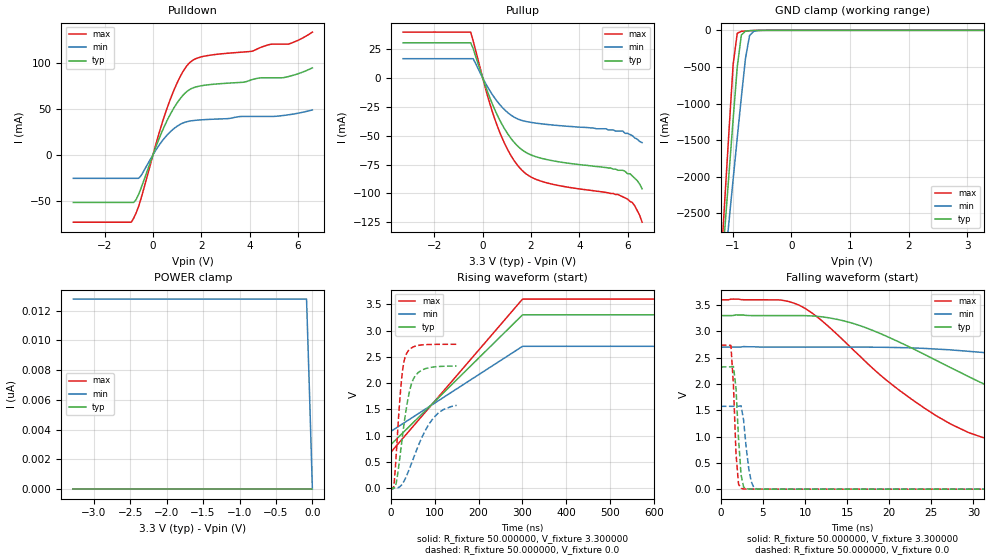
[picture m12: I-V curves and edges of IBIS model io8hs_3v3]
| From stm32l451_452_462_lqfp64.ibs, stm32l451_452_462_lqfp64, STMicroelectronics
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|   Model io8hs_3v3
[Model]  io8hs_3v3
Model_type I/O
Polarity   Non-Inverting
Enable   Active-Low
Vinl =   0.990000V
Vinh =   2.310000V
Vmeas =  1.650000V
Cref =   100.000000nF
Rref =   1.000000k
Vref =   3.300000V
C_comp   2.267200pF   2.233100pF   2.322300pF
[Temperature Range]   25.000000   0.125000k   -40.000000
[Pullup Reference]   3.300000V   2.700000V   3.600000V
[Pulldown Reference]   0.0V   0.0V   0.0V
[POWER Clamp Reference]   3.300000V   2.700000V   3.600000V
[GND Clamp Reference]   0.0V   0.0V   0.0V
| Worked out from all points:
|   slope of the pulldown table from 0 to 0.495 V, typ, clamps not added: 15.3 ohm
|   slope of the pullup table from 0 to 0.495 V, typ, clamps not added: 18.1 ohm
|   GND clamp passes 1 mA (typ) near -0.58 V on its own axis
|   rising waveform, R_fixture 50.000000, V_fixture 3.300000: 20-80 % time 180ns typ, 180ns min, 180ns max; typ from 0.831 V to 3.3 V
|   rising waveform, R_fixture 50.000000, V_fixture 0.0: 20-80 % time 24.3ns typ, 50.9ns min, 14.6ns max; typ from 0 V to 2.33 V
|   falling waveform, R_fixture 50.000000, V_fixture 3.300000: 20-80 % time 21ns typ, 41.5ns min, 13.6ns max; typ from 3.3 V to 0.831 V
|   falling waveform, R_fixture 50.000000, V_fixture 0.0: 20-80 % time 499ps typ, 675ps min, 456ps max; typ from 2.33 V to 0 V
[Pulldown]
|Voltage   I(typ)   I(min)   I(max)
-3.3V     -51.87mA   -25.68mA   -73.32mA
-900mV    -51.87mA   -25.68mA   -73.32mA
-700mV    -48.68mA   -25.68mA   -63.27mA
-500mV    -36.68mA   -22.92mA   -47.9mA
200mV     14.09mA    8.363mA    18.97mA
700mV     43.2mA     24.54mA    59.15mA
1.2V      63.38mA    34mA       88.53mA
1.6V      72.01mA    36.89mA    101.8mA
4.1V      81.58mA    41.61mA    112.4mA
4.9V      83.61mA    41.61mA    120.1mA
5.6V      84.89mA    43.33mA    120.1mA
6.6V      94.39mA    48.68mA    133.3mA
[Pullup]
|Voltage   I(typ)   I(min)   I(max)
-3.3V     30.51mA    16.73mA    39.79mA
-500mV    30.51mA    16.73mA    39.79mA
-400mV    25.73mA    16.73mA    32.44mA
200mV     -11.99mA   -7.69mA    -15.6mA
500mV     -27.53mA   -17.49mA   -35.6mA
1V        -47.29mA   -29.38mA   -60.81mA
1.5V      -60.05mA   -35.95mA   -77.15mA
1.9V      -65.77mA   -38.13mA   -84.64mA
2.6V      -70.47mA   -40.14mA   -90.6mA
5.6V      -80mA      -46mA      -101mA
6.2V      -85mA      -50mA      -108mA
6.6V      -96mA      -56mA      -125mA
[GND_clamp]
|Voltage   I(typ)   I(min)   I(max)
-3.3V     -9.456A    -9.706A    -9.779A
-1.2V     -3.441A    -3.76A     -3.218A
-1.13V    -2.694A    -3.182A    -2.288A
-1.06V    -1.951A    -2.607A    -1.365A
-990mV    -1.216A    -2.035A    -464.9mA
-920mV    -500mA     -1.468A    -40.15mA
-850mV    -63.51mA   -913mA     -13.79mA
-780mV    -11.84mA   -384.3mA   -8.858mA
-710mV    -4.78mA    -70.26mA   -5.228mA
-640mV    -2.25mA    -14.29mA   -2.447mA
-430mV    -27.1uA    -149uA     -11.19uA
3.28V     0A         0A         0A
[POWER_clamp]
|Voltage   I(typ)   I(min)   I(max)
-3.28V    0A         12.77nA    0A
-80mV     0A         12.77nA    0A
-40mV     0A         6.549nA    0A
0V        0A         0A         0A
[Ramp]
| variable   typ   min   max
dV/dt_r  1.39476/24.30683n   0.94506/54.41207n   1.64316/14.55319n
dV/dt_f  1.48126/21.06482n   0.97098/44.57739n   1.74767/13.63828n
R_load = 50.000000
[Rising Waveform]
R_fixture= 50.000000
V_fixture= 3.300000
V_fixture_min= 2.700000
V_fixture_max= 3.600000
|time   V(typ)   V(min)   V(max)
0s        831.2mV    1.082V     687.2mV
300.3ns   3.3V       2.7V       3.6V
600.6ns   3.3V       2.7V       3.6V
29.73us   3.3V       2.7V       3.6V
[Rising Waveform]
R_fixture= 50.000000
V_fixture= 0.0
V_fixture_min= 0.0
V_fixture_max= 0.0
|time   V(typ)   V(min)   V(max)
0s        2.592nV    41.12nV    2.445nV
6.006ns   -212.3uV   -165.9uV   34.14mV
11.71ns   98.71mV    239uV      645.5mV
18.62ns   491.4mV    17.55mV    1.541V
24.62ns   899.6mV    66.19mV    2.13V
35.44ns   1.551V     236.3mV    2.563V
46.55ns   1.987V     468.9mV    2.668V
61.86ns   2.2V       800.2mV    2.717V
96.7ns    2.305V     1.334V     2.736V
149.5ns   2.325V     1.575V     2.739V
[Falling Waveform]
R_fixture= 50.000000
V_fixture= 3.300000
V_fixture_min= 2.700000
V_fixture_max= 3.600000
|time   V(typ)   V(min)   V(max)
0s        3.3V       2.7V       3.6V
9.309ns   3.3V       2.7V       3.497V
15.92ns   3.141V     2.7V       2.62V
25.53ns   2.453V     2.664V     1.402V
29.73ns   2.116V     2.617V     1.059V
35.14ns   1.728V     2.529V     872.5mV
45.65ns   1.184V     2.294V     770mV
56.76ns   995.6mV    2.009V     727.7mV
91.89ns   863.6mV    1.303V     693.4mV
149.5ns   831.2mV    1.082V     687.2mV
[Falling Waveform]
R_fixture= 50.000000
V_fixture= 0.0
V_fixture_min= 0.0
V_fixture_max= 0.0
|time   V(typ)   V(min)   V(max)
0s        2.325V     1.575V     2.739V
1.201ns   2.325V     1.575V     2.732V
1.502ns   2.332V     1.575V     1.968V
1.802ns   1.923V     1.575V     679.7mV
2.102ns   963.4mV    1.576V     97.58mV
2.402ns   277.6mV    1.585V     16.45mV
2.703ns   43.49mV    1.314V     4.545mV
3.604ns   2.411mV    148.4mV    1.95mV
4.505ns   1.415mV    3.366mV    1.522mV
149.5ns   2.592nV    41.12nV    2.445nV
